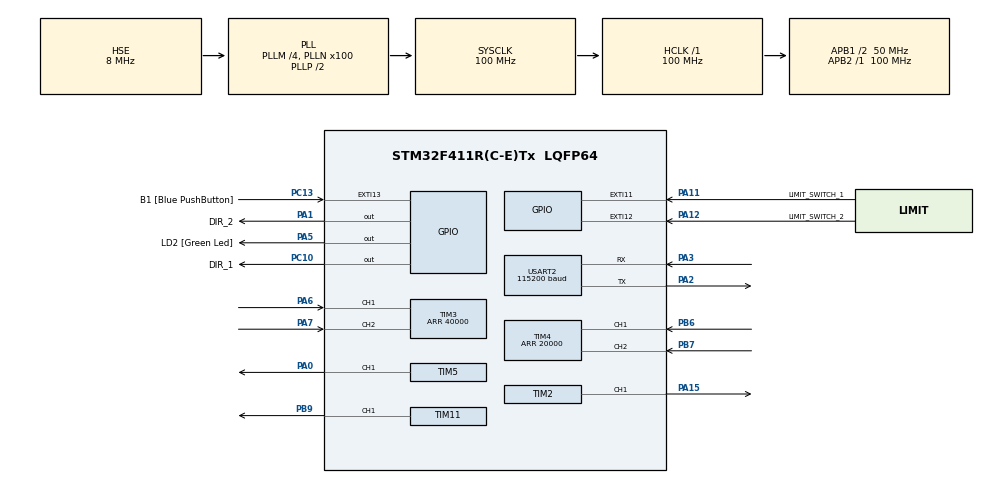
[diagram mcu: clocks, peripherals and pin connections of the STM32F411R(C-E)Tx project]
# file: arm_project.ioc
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Dma.Request0=USART2_RX
Dma.Request1=USART2_TX
Dma.USART2_RX.0.Direction=DMA_PERIPH_TO_MEMORY
Dma.USART2_RX.0.FIFOMode=DMA_FIFOMODE_DISABLE
Dma.USART2_RX.0.Instance=DMA1_Stream5
Dma.USART2_RX.0.MemDataAlignment=DMA_MDATAALIGN_BYTE
Dma.USART2_RX.0.MemInc=DMA_MINC_ENABLE
Dma.USART2_RX.0.Mode=DMA_CIRCULAR
Dma.USART2_RX.0.PeriphDataAlignment=DMA_PDATAALIGN_BYTE
Dma.USART2_RX.0.PeriphInc=DMA_PINC_DISABLE
Dma.USART2_RX.0.Priority=DMA_PRIORITY_MEDIUM
Dma.USART2_TX.1.Direction=DMA_MEMORY_TO_PERIPH
Dma.USART2_TX.1.FIFOMode=DMA_FIFOMODE_DISABLE
Dma.USART2_TX.1.Instance=DMA1_Stream6
Dma.USART2_TX.1.MemDataAlignment=DMA_MDATAALIGN_BYTE
Dma.USART2_TX.1.MemInc=DMA_MINC_ENABLE
Dma.USART2_TX.1.Mode=DMA_NORMAL
Dma.USART2_TX.1.PeriphDataAlignment=DMA_PDATAALIGN_BYTE
Dma.USART2_TX.1.PeriphInc=DMA_PINC_DISABLE
Dma.USART2_TX.1.Priority=DMA_PRIORITY_MEDIUM
Mcu.Family=STM32F4
Mcu.Name=STM32F411R(C-E)Tx
Mcu.Package=LQFP64
NVIC.DMA1_Stream5_IRQn=true\:0\:0\:false\:false\:true\:false\:true\:true
NVIC.DMA1_Stream6_IRQn=true\:0\:0\:false\:false\:true\:false\:true\:true
NVIC.EXTI15_10_IRQn=true\:0\:0\:false\:false\:true\:true\:true\:true
NVIC.PriorityGroup=NVIC_PRIORITYGROUP_4
NVIC.TIM1_UP_TIM10_IRQn=true\:0\:0\:false\:false\:true\:true\:true\:true
NVIC.TIM3_IRQn=true\:0\:0\:false\:false\:true\:true\:true\:true
NVIC.TIM4_IRQn=true\:0\:0\:false\:false\:true\:true\:true\:true
NVIC.USART2_IRQn=true\:0\:0\:false\:false\:true\:true\:true\:true
PA0-WKUP.Signal=S_TIM5_CH1
PA1.GPIO_Label=DIR_2
PA1.GPIO_PuPd=GPIO_NOPULL
PA1.Signal=GPIO_Output
PA11.GPIO_Label=LIMIT_SWITCH_1
PA11.GPIO_ModeDefaultEXTI=GPIO_MODE_IT_RISING
PA11.GPIO_PuPd=GPIO_PULLDOWN
PA11.Signal=GPXTI11
PA12.GPIO_Label=LIMIT_SWITCH_2
PA12.GPIO_ModeDefaultEXTI=GPIO_MODE_IT_RISING
PA12.GPIO_PuPd=GPIO_PULLDOWN
PA12.Signal=GPXTI12
PA13.GPIO_Label=TMS
PA13.Mode=Serial_Wire
PA13.Signal=SYS_JTMS-SWDIO
PA14.GPIO_Label=TCK
PA14.Mode=Serial_Wire
PA14.Signal=SYS_JTCK-SWCLK
PA15.Signal=S_TIM2_CH1_ETR
PA2.GPIO_ModeDefaultPP=GPIO_MODE_AF_PP
PA2.GPIO_PuPd=GPIO_NOPULL
PA2.GPIO_Speed=GPIO_SPEED_FREQ_VERY_HIGH
PA2.Mode=Asynchronous
PA2.Signal=USART2_TX
PA3.GPIO_ModeDefaultPP=GPIO_MODE_AF_PP
PA3.GPIO_PuPd=GPIO_NOPULL
PA3.GPIO_Speed=GPIO_SPEED_FREQ_VERY_HIGH
PA3.Mode=Asynchronous
PA3.Signal=USART2_RX
PA5.GPIO_Label=LD2 [Green Led]
PA5.Signal=GPIO_Output
PA6.Signal=S_TIM3_CH1
PA7.Signal=S_TIM3_CH2
PB3.GPIO_Label=SWO
PB3.Signal=SYS_JTDO-SWO
PB6.Signal=S_TIM4_CH1
PB7.Signal=S_TIM4_CH2
PB9.Signal=S_TIM11_CH1
PC10.GPIO_Label=DIR_1
PC10.GPIO_PuPd=GPIO_NOPULL
PC10.Signal=GPIO_Output
PC13-ANTI_TAMP.GPIO_Label=B1 [Blue PushButton]
PC13-ANTI_TAMP.GPIO_ModeDefaultEXTI=GPIO_MODE_IT_FALLING
PC13-ANTI_TAMP.Signal=GPXTI13
PC14-OSC32_IN.Mode=LSE-External-Oscillator
PC14-OSC32_IN.Signal=RCC_OSC32_IN
PC15-OSC32_OUT.Mode=LSE-External-Oscillator
PC15-OSC32_OUT.Signal=RCC_OSC32_OUT
PH0\ -\ OSC_IN.Mode=HSE-External-Clock-Source
PH0\ -\ OSC_IN.Signal=RCC_OSC_IN
PH1\ -\ OSC_OUT.Mode=HSE-External-Clock-Source
PH1\ -\ OSC_OUT.Signal=RCC_OSC_OUT
ProjectManager.HeapSize=0x200
ProjectManager.StackSize=0x400
ProjectManager.TargetToolchain=STM32CubeIDE
RCC.48MHZClocksFreq_Value=50000000
RCC.AHBFreq_Value=100000000
RCC.APB1CLKDivider=RCC_HCLK_DIV2
RCC.APB1Freq_Value=50000000
RCC.APB1TimFreq_Value=100000000
RCC.APB2Freq_Value=100000000
RCC.APB2TimFreq_Value=100000000
RCC.CortexFreq_Value=100000000
RCC.EnbaleCSS=true
RCC.FLatency-AdvancedSettings=FLASH_LATENCY_3
RCC.HCLKFreq_Value=100000000
RCC.HSE_VALUE=8000000
RCC.HSI_VALUE=16000000
RCC.PLLM=4
RCC.PLLN=100
RCC.PLLSourceVirtual=RCC_PLLSOURCE_HSE
RCC.SYSCLKFreq_VALUE=100000000
RCC.SYSCLKSource=RCC_SYSCLKSOURCE_PLLCLK
RCC.VCOOutputFreq_Value=200000000
SH.S_TIM11_CH1.0=TIM11_CH1,PWM Generation1 CH1
SH.S_TIM2_CH1_ETR.0=TIM2_CH1,PWM Generation1 CH1
SH.S_TIM3_CH1.0=TIM3_CH1,Encoder_Interface
SH.S_TIM3_CH2.0=TIM3_CH2,Encoder_Interface
SH.S_TIM4_CH1.0=TIM4_CH1,Encoder_Interface
SH.S_TIM4_CH2.0=TIM4_CH2,Encoder_Interface
SH.S_TIM5_CH1.0=TIM5_CH1,PWM Generation1 CH1
TIM10.Period=199
TIM10.Prescaler=999
TIM11.Channel=TIM_CHANNEL_1
TIM11.Period=19999
TIM11.Prescaler=99
TIM2.Channel-PWM\ Generation1\ CH1=TIM_CHANNEL_1
TIM2.Prescaler=0
TIM3.EncoderMode=TIM_ENCODERMODE_TI12
TIM3.Period=40000
TIM4.EncoderMode=TIM_ENCODERMODE_TI12
TIM4.Period=20000
TIM5.Channel-PWM\ Generation1\ CH1=TIM_CHANNEL_1
TIM5.Prescaler=0
USART2.BaudRate=115200
USART2.VirtualMode=VM_ASYNC
VP_TIM10_VS_ClockSourceINT.Mode=Enable_Timer
VP_TIM11_VS_ClockSourceINT.Mode=Enable_Timer
board=NUCLEO-F411RE

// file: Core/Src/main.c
/* USER CODE BEGIN Header */
/**
  ******************************************************************************
  * @file           : main.c
  * @brief          : Main program body
  ******************************************************************************
  * @attention
  *
  * Copyright (c) 2025 STMicroelectronics.
  * All rights reserved.
  *
  * This software is licensed under terms that can be found in the LICENSE file
  * in the root directory of this software component.
  * If no LICENSE file comes with this software, it is provided AS-IS.
  *
  ******************************************************************************
  */
/* USER CODE END Header */
#include "main.h"
#include "dma.h"
#include "tim.h"
#include "usart.h"
#include "gpio.h"

/* USER CODE BEGIN Includes */
#include "encoder.h"
#include "manipulator.h"
// Note: manipulator.h includes protocol.h and controller.h now, so functions are available.
/* USER CODE END Includes */

/* USER CODE BEGIN PV */
// --- GLOBAL INSTANCES ---
manipulator_t manipulator;
encoder_t enc1;
encoder_t enc2;
uint32_t tick=0;
uint32_t switch_count1=0;
uint32_t switch_count2=0;
/* USER CODE END PV */

void SystemClock_Config(void);

int main(void)
{

  /* MCU Configuration--------------------------------------------------------*/

  /* Reset of all peripherals, Initializes the Flash interface and the Systick. */
  HAL_Init();

  /* Configure the system clock */
  SystemClock_Config();

  /* Initialize all configured peripherals */
  MX_GPIO_Init();
  MX_DMA_Init();
  MX_USART2_UART_Init();
  MX_TIM3_Init();
  MX_TIM4_Init();
  MX_TIM2_Init();
  MX_TIM5_Init();
  MX_TIM10_Init();
  MX_TIM11_Init();
  /* USER CODE BEGIN 2 */

  // --- SYSTEM INITIALIZATION ---
  encoder_init(&htim3, &enc1);
  encoder_init(&htim4, &enc2);
  manipulator_init(&manipulator, &enc1, &enc2, &htim5, &htim2, &htim10, &htim11);
  manipulator_start(&manipulator);
  HAL_TIM_Base_Start_IT(&htim10);

  calibration_start(&manipulator);
  // Start UART DMA Reception
  HAL_UART_Receive_DMA(&huart2, uart_rx_buffer, UART_RX_BUFFER_SIZE);
  /* USER CODE END 2 */

  /* Infinite loop */
  /* USER CODE BEGIN WHILE */
  static uint8_t homing_completed_first_time = 0;
  static uint8_t target_reached_flag = 0;

  // --- MAIN LOOP ---
  while (1)
  {
    // Process UART packets
    manipulator_uart_process(&manipulator, &huart2);
    // Send Telemetry
    manipulator_handle_telemetry(&manipulator, &huart2);

    // If calibrating, skip the rest
    if(calibration_check(&manipulator)){
      continue;
    }

    // If not homed, perform homing
	if(homing_check(&manipulator) == 0){
		if((HAL_GetTick() - tick) > 10){
			tick = HAL_GetTick();
			homing(&manipulator);
		}
		continue;
	}

    // --- CONTROL LOOP (approx 100Hz) ---
    if((HAL_GetTick() - tick) > 10){
        tick = HAL_GetTick();

        // Consume a point from the queue if available
        if (manipulator_process_motion_queue(&manipulator)) {
            target_reached_flag = 0; // If we have new points, reset arrival flag
        }

        if (target_reached_flag == 0) {
            // Check if target is reached (tolerance: 0.0025 rad position, 0.01 rad/s velocity, stable for 50ms (5 ticks))
            // Note: if executing a trajectory, the target changes continuously, so check_target_reached might not trigger until we stop.
            // However, if the buffer empties, process_motion_queue sets dq=0, so we might stop.

            if (manipulator_check_target_reached(&manipulator, 0.0025f, 0.01f, 5)) {
                target_reached_flag = 1;
                // Stop motors
                apply_velocity_input(&manipulator, (float[]){0.0f, 0.0f});
            } else {
                // Run position control
                manipulator_update_position_controller(&manipulator);
            }
        }
    }

    /* USER CODE END WHILE */

  }
}

void SystemClock_Config(void)
{
  RCC_OscInitTypeDef RCC_OscInitStruct = {0};
  RCC_ClkInitTypeDef RCC_ClkInitStruct = {0};

  /** Configure the main internal regulator output voltage
  */
  __HAL_RCC_PWR_CLK_ENABLE();
  __HAL_PWR_VOLTAGESCALING_CONFIG(PWR_REGULATOR_VOLTAGE_SCALE1);

  /** Initializes the RCC Oscillators according to the specified parameters
  * in the RCC_OscInitTypeDef structure.
  */
  RCC_OscInitStruct.OscillatorType = RCC_OSCILLATORTYPE_HSE;
  RCC_OscInitStruct.HSEState = RCC_HSE_BYPASS;
  RCC_OscInitStruct.PLL.PLLState = RCC_PLL_ON;
  RCC_OscInitStruct.PLL.PLLSource = RCC_PLLSOURCE_HSE;
  RCC_OscInitStruct.PLL.PLLM = 4;
  RCC_OscInitStruct.PLL.PLLN = 100;
  RCC_OscInitStruct.PLL.PLLP = RCC_PLLP_DIV2;
  RCC_OscInitStruct.PLL.PLLQ = 4;
  if (HAL_RCC_OscConfig(&RCC_OscInitStruct) != HAL_OK)
  {
    Error_Handler();
  }

  /** Initializes the CPU, AHB and APB buses clocks
  */
  RCC_ClkInitStruct.ClockType = RCC_CLOCKTYPE_HCLK|RCC_CLOCKTYPE_SYSCLK
                              |RCC_CLOCKTYPE_PCLK1|RCC_CLOCKTYPE_PCLK2;
  RCC_ClkInitStruct.SYSCLKSource = RCC_SYSCLKSOURCE_PLLCLK;
  RCC_ClkInitStruct.AHBCLKDivider = RCC_SYSCLK_DIV1;
  RCC_ClkInitStruct.APB1CLKDivider = RCC_HCLK_DIV2;
  RCC_ClkInitStruct.APB2CLKDivider = RCC_HCLK_DIV1;

  if (HAL_RCC_ClockConfig(&RCC_ClkInitStruct, FLASH_LATENCY_3) != HAL_OK)
  {
    Error_Handler();
  }

  /** Enables the Clock Security System
  */
  HAL_RCC_EnableCSS();
}

/* USER CODE BEGIN 4 */
// --- INTERRUPT CALLBACKS ---
void HAL_TIM_PeriodElapsedCallback(TIM_HandleTypeDef *htim){
	if(htim->Instance == TIM10){ /* check if it is the proper instance */
    manipulator_read_status(&manipulator);
	}
}

HAL_GPIO_EXTI_Callback(uint16_t GPIO_Pin){
    if(GPIO_Pin==LIMIT_SWITCH_1_Pin){
    	switch_count1+=1;
        if(calibration_check(&manipulator)){
          calibration_encoder(&manipulator, &manipulator.encoder_1, CALIBRATION_1);
          apply_velocity_input(&manipulator, (float[2]){0.0, 0.5});
        }else{
          manipulator_set_motor_velocity(&manipulator, MOTOR_1, 0.0f);
        }

    }

    if (GPIO_Pin==LIMIT_SWITCH_2_Pin){
    	switch_count2+=1;
        if(calibration_check(&manipulator)){
          calibration_encoder(&manipulator, &manipulator.encoder_2, CALIBRATION_2);
          calibration_stop(&manipulator);
        }else{
          manipulator_set_motor_velocity(&manipulator, MOTOR_2, 0.0f);
        }
    }
}

/* USER CODE END 4 */

void Error_Handler(void)
{
  __disable_irq();
  while (1)
  {
  }
}
